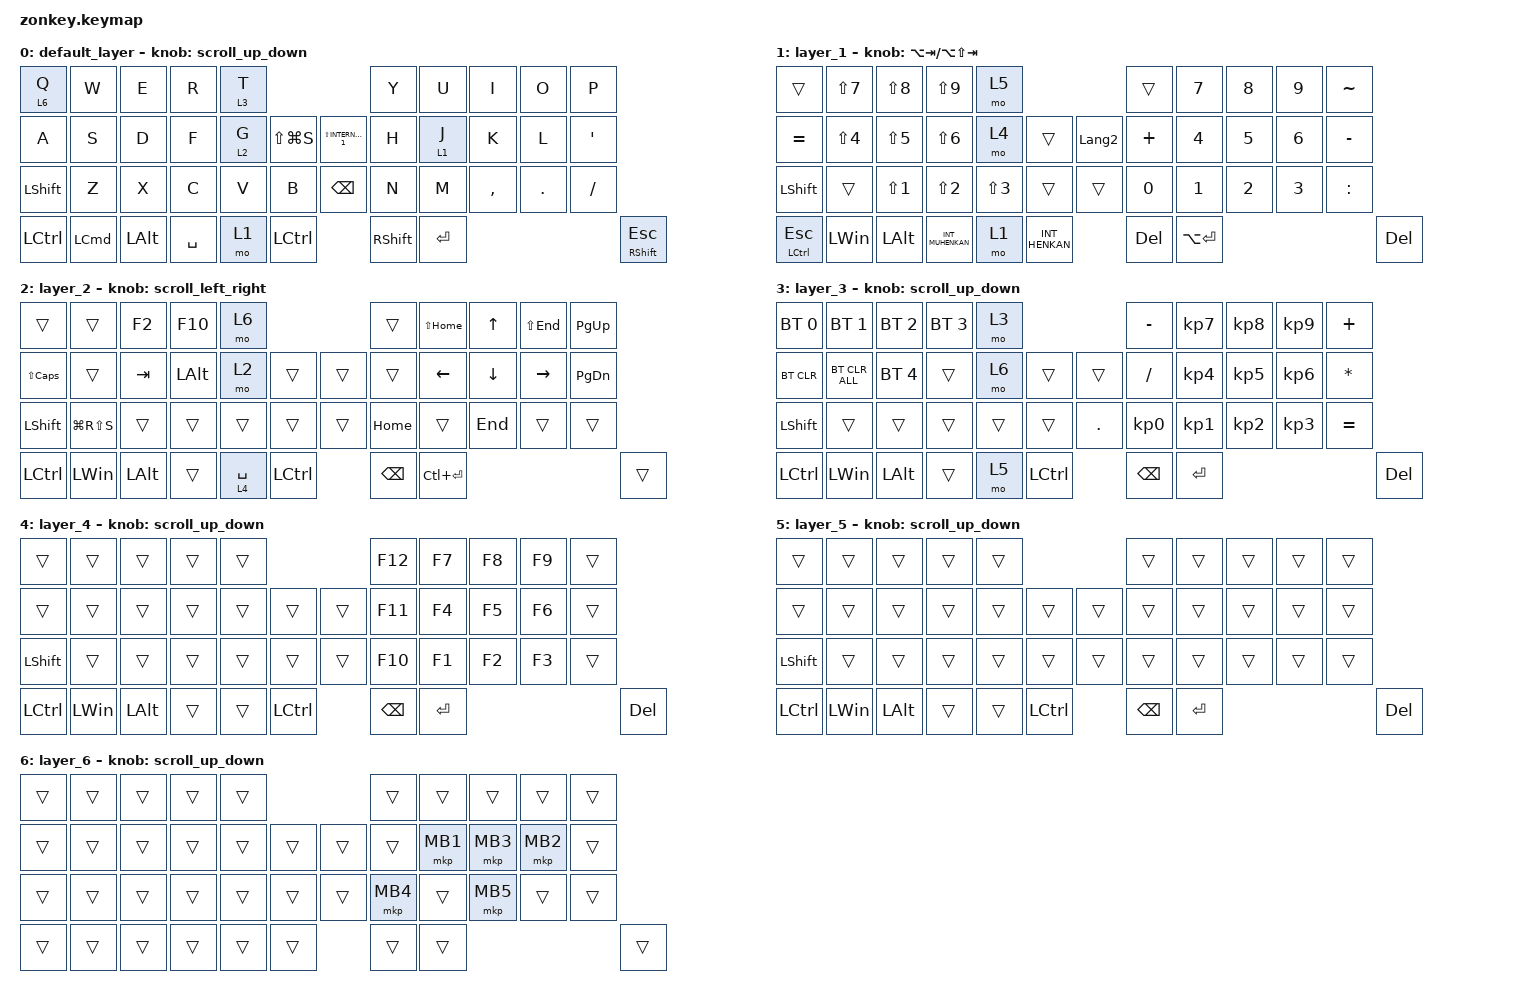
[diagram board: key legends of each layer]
#include <behaviors.dtsi>
#include <dt-bindings/zmk/bt.h>
#include <dt-bindings/zmk/keys.h>
#include <dt-bindings/zmk/pointing.h>

#define ZMK_POINTING_DEFAULT_SCRL_VAL 100
#define MOUSE 6
#define JP_DQUOTE       AT                // "
#define JP_AMPERSAND    CARET             // &
#define JP_QUOTE        AMPERSAND         // '
#define JP_EQUAL        UNDER             // =
#define JP_CARET        EQUAL             // ^
#define JP_YEN          0x89              // ¥
#define JP_PLUS         COLON             // +
#define JP_TILDE        PLUS              // ~
#define JP_PIPE         LS(0x89)          // |
#define JP_AT           LEFT_BRACKET      // @
#define JP_COLON        SINGLE_QUOTE      // :
#define JP_ASTERISK     DOUBLE_QUOTES     // *
#define JP_BACKQUOTE    LEFT_BRACE        // `
#define JP_UNDERSCORE   LS(0x87)          // _
#define JP_LBRACKET     RIGHT_BRACKET     // [
#define JP_RBRACKET     BACKSLASH         // ]
#define JP_LPAREN       ASTERISK          // (
#define JP_RPAREN       LEFT_PARENTHESIS  // )
#define JP_LBRACE       RIGHT_BRACE       // {
#define JP_RBRACE       PIPE              // }
#define JP_KANA         LANGUAGE_1        // かな
#define JP_EISU         LANGUAGE_2        // 英数
#define JP_HANZEN       GRAVE             // 半角/全角
#define JP_BSLH  INT1         // (backslash)

&mt {
    flavor = "balanced";
    quick-tap-ms = <0>;
};

/ {
    combos { compatible = "zmk,combos"; };

    mo2: mo2 {
        compatible = "zmk,behavior-mod-morph";
        #binding-cells = <0>;
        bindings = <&kp N2>, <&kp AT>;

        mods = <(MOD_LSFT|MOD_RSFT)>;
    };

    mo6: mo6 {
        compatible = "zmk,behavior-mod-morph";
        #binding-cells = <0>;
        bindings = <&kp N6>, <&kp CARET>;

        mods = <(MOD_LSFT|MOD_RSFT)>;
    };

    mo7: mo7 {
        compatible = "zmk,behavior-mod-morph";
        #binding-cells = <0>;
        bindings = <&kp N7>, <&kp AMPS>;

        mods = <(MOD_LSFT|MOD_RSFT)>;
    };

    mo8: mo8 {
        compatible = "zmk,behavior-mod-morph";
        #binding-cells = <0>;
        bindings = <&kp N8>, <&kp ASTRK>;

        mods = <(MOD_LSFT|MOD_RSFT)>;
    };

    mo9: mo9 {
        compatible = "zmk,behavior-mod-morph";
        #binding-cells = <0>;
        bindings = <&kp N9>, <&kp LPAR>;

        mods = <(MOD_LSFT|MOD_RSFT)>;
    };

    mo0: mo0 {
        compatible = "zmk,behavior-mod-morph";
        #binding-cells = <0>;
        bindings = <&kp N0>, <&kp LS(N9)>;

        mods = <(MOD_LSFT|MOD_RSFT)>;
    };

    moA: moA {
        compatible = "zmk,behavior-mod-morph";
        #binding-cells = <0>;
        bindings = <&kp MINUS>, <&kp UNDERSCORE>;

        mods = <(MOD_LSFT|MOD_RSFT)>;
    };

    moB: moB {
        compatible = "zmk,behavior-mod-morph";
        #binding-cells = <0>;
        bindings = <&kp EQUAL>, <&kp PLUS>;

        mods = <(MOD_LSFT|MOD_RSFT)>;
    };

    moC: moC {
        compatible = "zmk,behavior-mod-morph";
        #binding-cells = <0>;
        bindings = <&kp INT3>, <&kp JP_PIPE>;

        mods = <(MOD_LSFT|MOD_RSFT)>;
    };

    moD: moD {
        compatible = "zmk,behavior-mod-morph";
        #binding-cells = <0>;
        bindings = <&kp LBKT>, <&kp LBRC>;

        mods = <(MOD_LSFT|MOD_RSFT)>;
    };

    moE: moE {
        compatible = "zmk,behavior-mod-morph";
        #binding-cells = <0>;
        bindings = <&kp RBKT>, <&kp RBRC>;

        mods = <(MOD_LSFT|MOD_RSFT)>;
    };

    moF: moF {
        compatible = "zmk,behavior-mod-morph";
        #binding-cells = <0>;
        bindings = <&kp SEMI>, <&kp KP_PLUS>;

        mods = <(MOD_LSFT|MOD_RSFT)>;
    };

    moG: moG {
        compatible = "zmk,behavior-mod-morph";
        #binding-cells = <0>;
        bindings = <&kp APOSTROPHE>, <&kp DQT>;

        mods = <(MOD_LSFT|MOD_RSFT)>;
    };

    moH: moH {
        compatible = "zmk,behavior-mod-morph";
        #binding-cells = <0>;
        bindings = <&kp BACKSLASH>, <&kp TILDE2>;

        mods = <(MOD_LSFT|MOD_RSFT)>;
    };

    moI: moI {
        compatible = "zmk,behavior-mod-morph";
        #binding-cells = <0>;
        bindings = <&kp JP_BSLH>, <&kp JP_UNDERSCORE>;

        mods = <(MOD_LSFT|MOD_RSFT)>;
    };

    macros {
        to_layer_0: to_layer_0 {
            compatible = "zmk,behavior-macro-one-param";
            #binding-cells = <1>;
            bindings = <&to 0 &macro_param_1to1 &kp MACRO_PLACEHOLDER>;
            label = "TO_LAYER_0";
        };
    };

    behaviors {
        lt_repeat: lt_repeat {
            compatible = "zmk,behavior-hold-tap";
            label = "LAYER_TAP_REPEAT";
            bindings = <&mo>, <&kp>;

            #binding-cells = <2>;
            flavor = "hold-preferred";  // 長押しを少し強めに優先
            tapping-term-ms = <1000>;    // 長押し判定（好みに応じて200〜300で調整）
            quick-tap-ms = <900>;      // タップ+長押しでリピートさせる時間
        };

        scroll_up_down: behavior_sensor_rotate_mouse_wheel_up_down {
            compatible = "zmk,behavior-sensor-rotate";
            #sensor-binding-cells = <0>;
            bindings = <&msc SCRL_DOWN>, <&msc SCRL_UP>;

            tap-ms = <20>;
        };

        scroll_left_right: behavior_sensor_rotate_mouse_wheel_left_right {
            compatible = "zmk,behavior-sensor-rotate";
            #sensor-binding-cells = <0>;
            bindings = <&msc SCRL_LEFT>, <&msc SCRL_RIGHT>;

            tap-ms = <20>;
        };
    };

    keymap {
        compatible = "zmk,keymap";

        default_layer {
            // -----------------------------------------------------------------------------------------
            // |  Q  |  W  |  E  |  R  |  T  |                        |  Y  |  U   |  I  |  O  |  P  | 
            // |  A  |  S  |  D  |  F  |  G  |LS(LG(S))|        　 | - |  H  |  J   |  K  |  L  |  `  | 
            // |SHIFT|  Z  |  X  |  C  |  V  |  B  |           | B |  N  |  M   |  ,  |  .  |  /  | 
            // | CTRL | WIN | ALT |HENKAN|SPACE|MUHENKAN|       | BS | ENT |      　　　　       | DEL |           

            bindings = <
&lt 6 Q         &kp W             &kp E         &kp R      &lt 3 T                                            &kp Y            &kp U      &kp I      &kp O    &kp P
&kp A           &kp S             &kp D         &kp F      &lt 2 G  &kp LS(LG(S))    &kp LS(INTERNATIONAL_1)  &kp H            &lt 1 J    &kp K      &kp L    &kp SQT
&kp LEFT_SHIFT  &kp Z             &kp X         &kp C      &kp V    &kp B            &kp BACKSPACE            &kp N            &kp M      &kp COMMA  &kp DOT  &kp SLASH
&kp LCTRL       &kp LEFT_COMMAND  &kp LEFT_ALT  &kp SPACE  &mo 1    &kp LCTRL                                 &kp RIGHT_SHIFT  &kp ENTER                                 &mt RIGHT_SHIFT ESCAPE
            >;

            sensor-bindings = <&scroll_up_down>;
        };

        layer_1 {
            // -----------------------------------------------------------------------------------------
            // |CAPS　| 　　|     |     |                    　　　　　　 |     |     |  -  |  ^  |  ¥  |
            // | TAB |     |     |     |     |     |              |    |     |     |     |  @  |  [  |
            // |SHIFT|     |     |     |     |     |           　 | 英数 | かな |    |  ; |  :  |  ]  |
            // | CTRL| WIN | ALT |HENKAN|SPACE|MUHENKAN|         | BS | ENT |                   | DEL |

            bindings = <
&trans          &kp LS(NUMBER_7)  &kp LS(NUMBER_8)  &kp LS(NUMBER_9)  &mo 5                                            &trans        &kp NUMBER_7   &kp NUMBER_8  &kp NUMBER_9  &kp TILDE
&kp EQUAL       &kp LS(NUMBER_4)  &kp LS(NUMBER_5)  &kp LS(NUMBER_6)  &mo 4             &trans            &kp JP_EISU  &kp PLUS      &kp NUMBER_4   &kp NUMBER_5  &kp NUMBER_6  &kp MINUS
&kp LEFT_SHIFT  &trans            &kp LS(NUMBER_1)  &kp LS(NUMBER_2)  &kp LS(NUMBER_3)  &trans            &trans       &kp NUMBER_0  &kp NUMBER_1   &kp NUMBER_2  &kp NUMBER_3  &kp COLON
&mt LCTL ESC    &kp LEFT_WIN      &kp LEFT_ALT      &kp INT_MUHENKAN  &mo 1             &kp INT_HENKAN                 &kp DEL       &kp LA(ENTER)                                         &kp DEL
            >;

            sensor-bindings = <&inc_dec_kp LA(TAB) LA(LS(TAB))>;
        };

        layer_2 {
            // -----------------------------------------------------------------------------------------
            // |  1  |  2  |  3  |  4  |  5  |                     |  6  |  7  |  8  |  9  |   0  |
            // |      |     |     |     |     |     |           |    |     |     |     |  ↑  |      |
            // |SHIFT|     |     |     |     |     |           |     |     |     |  ←  |  ↓  |  →  |
            // | CTRL| WIN | ALT |HENKAN|SPACE|MUHENKAN|         | BS | ENT |                   | DEL |

            bindings = <
&trans            &trans         &kp F2        &kp F10       &mo 6                             &trans         &kp LS(HOME)    &kp UP_ARROW    &kp LS(END)      &kp PAGE_UP
&kp LS(CAPSLOCK)  &trans         &kp TAB       &kp LEFT_ALT  &mo 2        &trans       &trans  &trans         &kp LEFT_ARROW  &kp DOWN_ARROW  &kp RIGHT_ARROW  &kp PAGE_DOWN
&kp LEFT_SHIFT    &kp LG(RS(S))  &trans        &trans        &trans       &trans       &trans  &kp HOME       &trans          &kp END         &trans           &trans
&kp LCTRL         &kp LEFT_WIN   &kp LEFT_ALT  &trans        &lt 4 SPACE  &kp LCTRL            &kp BACKSPACE  &kp LC(ENTER)                                                   &trans
            >;

            sensor-bindings = <&scroll_left_right>;
        };

        layer_3 {
            // -----------------------------------------------------------------------------------------
            // | BT0 | BT1 | BT2 | BT3 | BT4 |                        |  -  |  7  |  8  |  9  |  +  |
            // |BTCLR |     |     |     |     |     |                 |  /  |  4  |  5  |  6  |  *  | 
            // |SHIFT|     |     |     |     |     |           |  .  |  0  |  1  |  2  |   3  |  =  |
            // | CTRL| WIN | ALT |HENKAN|SPACE|MUHENKAN|        | BS | ENT |                  | DEL |

            bindings = <
&bt BT_SEL 0    &bt BT_SEL 1    &bt BT_SEL 2  &bt BT_SEL 3  &mo 3                         &kp MINUS        &kp KP_NUMBER_7  &kp KP_NUMBER_8  &kp KP_NUMBER_9  &kp PLUS
&bt BT_CLR      &bt BT_CLR_ALL  &bt BT_SEL 4  &trans        &mo 6   &trans       &trans   &kp SLASH        &kp KP_NUMBER_4  &kp KP_NUMBER_5  &kp KP_NUMBER_6  &kp ASTERISK
&kp LEFT_SHIFT  &trans          &trans        &trans        &trans  &trans       &kp DOT  &kp KP_NUMBER_0  &kp KP_NUMBER_1  &kp KP_NUMBER_2  &kp KP_NUMBER_3  &kp EQUAL
&kp LCTRL       &kp LEFT_WIN    &kp LEFT_ALT  &trans        &mo 5   &kp LCTRL             &kp BACKSPACE    &kp ENTER                                                        &kp DEL
            >;

            sensor-bindings = <&scroll_up_down>;
        };

        layer_4 {
            // -----------------------------------------------------------------------------------------
            // | F1  | F2  | F3  | F4  | F5  |                     | F6  | F7 | F8  | F9 | F10 |
            // | F11 | F12 |     |     |     |     |           |    |     |     |     |     |      |
            // |SHIFT|     |     |     |     |     |           |     |     |     |     |     |      |
            // | CTRL| WIN | ALT |HENKAN|SPACE|MUHENKAN|         | BS | ENT |                   | DEL |

            bindings = <
&trans          &trans        &trans        &trans  &trans                       &kp F12        &kp F7     &kp F8  &kp F9  &trans
&trans          &trans        &trans        &trans  &trans  &trans       &trans  &kp F11        &kp F4     &kp F5  &kp F6  &trans
&kp LEFT_SHIFT  &trans        &trans        &trans  &trans  &trans       &trans  &kp F10        &kp F1     &kp F2  &kp F3  &trans
&kp LCTRL       &kp LEFT_WIN  &kp LEFT_ALT  &trans  &trans  &kp LCTRL            &kp BACKSPACE  &kp ENTER                          &kp DEL
            >;

            sensor-bindings = <&scroll_up_down>;
        };

        layer_5 {
            // -----------------------------------------------------------------------------------------
            // |      |     |     |     |     |                     |     |     |     |     |      |
            // |      |     |     |     |     |     |           |    |     |     |     |     |      |
            // |SHIFT|     |     |     |     |     |          |     |     |     |     |     |      |
            // | CTRL| WIN | ALT |HENKAN|SPACE|MUHENKAN|        | BS | ENT |                  | DEL |

            bindings = <
&trans          &trans        &trans        &trans  &trans                       &trans         &trans     &trans  &trans  &trans
&trans          &trans        &trans        &trans  &trans  &trans       &trans  &trans         &trans     &trans  &trans  &trans
&kp LEFT_SHIFT  &trans        &trans        &trans  &trans  &trans       &trans  &trans         &trans     &trans  &trans  &trans
&kp LCTRL       &kp LEFT_WIN  &kp LEFT_ALT  &trans  &trans  &kp LCTRL            &kp BACKSPACE  &kp ENTER                          &kp DEL
            >;

            sensor-bindings = <&scroll_up_down>;
        };

        layer_6 {
            bindings = <
&trans  &trans  &trans  &trans  &trans                    &trans    &trans    &trans    &trans    &trans
&trans  &trans  &trans  &trans  &trans  &trans    &trans  &trans    &mkp MB1  &mkp MB3  &mkp MB2  &trans
&trans  &trans  &trans  &trans  &trans  &trans    &trans  &mkp MB4  &trans    &mkp MB5  &trans    &trans
&trans  &trans  &trans  &trans  &trans  &trans            &trans    &trans                                &trans
            >;

            sensor-bindings = <&scroll_up_down>;
        };
    };
};
